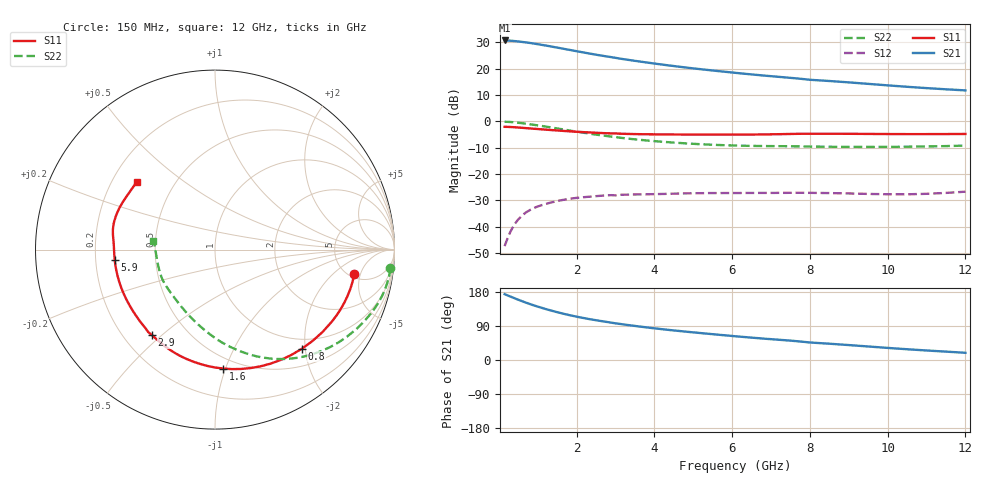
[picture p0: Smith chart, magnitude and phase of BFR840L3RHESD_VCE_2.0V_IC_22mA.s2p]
! Infineon Technologies  Discrete & RF Semiconductors
! BFR840L3RHESD
! VCE =  2.0 V,  IC =  22 mA
! Common Emitter S-Parameters:  Jun 2012
# GHz  S  MA  R  50
!  f  S11  S21  S12  S22
! GHz  MAG  ANG  MAG  ANG  MAG  ANG  MAG  ANG
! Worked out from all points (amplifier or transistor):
!   91 points, 150 MHz to 12 GHz, reference 50 ohm
!   highest |S21| = 30.7 dB at 150 MHz (marker M1)
!   |S21| within 3 dB of that: start of sweep to 1.609 GHz
!   unconditionally stable (mu >= 1): 7.262 GHz to end of sweep
!   at 1.3 GHz: K = 0.20, MSG = 29.7 dB, |S12| = -30.9 dB
!   at 4.3 GHz: K = 0.60, MSG = 24.4 dB, |S12| = -27.5 dB
!   at 12 GHz: K = 1.77, MAG = 14.1 dB, |S12| = -26.7 dB
!   S11 on the Smith chart (normalised r, x): 150 MHz: 5.54, -3.96; 800 MHz: 0.81, -1.94; 1.6 GHz: 0.41, -0.98; 2.9 GHz: 0.32, -0.46; 5.9 GHz: 0.28, -0.05; 12 GHz: 0.30, +0.34
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0.15  0.7879 -9.9  34.24 173.7  0.0043 86.6  0.9831 -6.0
0.3  0.7822 -19.5  33.83 167.4  0.0081 78.6  0.9727 -13.2
0.5  0.7649 -31.6  32.78 159.1  0.0138 70.7  0.9416 -21.7
0.6  0.7548 -37.5  32.14 155.1  0.0164 67.8  0.9225 -25.7
0.8  0.7347 -48.6  30.7 147.7  0.0208 62.6  0.8817 -33.3
1  0.7158 -59.1  29.13 140.9  0.0243 57.9  0.8401 -40.3
1.2  0.6979 -68.8  27.5 134.7  0.0271 53.5  0.7982 -46.8
1.4  0.6807 -77.7  25.87 129.0  0.0296 49.5  0.7564 -52.9
1.6  0.6643 -86.1  24.31 123.7  0.0319 46.3  0.7153 -58.5
1.9  0.6424 -97.5  22.12 116.6  0.0347 42.4  0.6571 -66.2
2.2  0.6243 -107.6  20.14 110.4  0.0366 39.1  0.6058 -73.0
2.5  0.6085 -116.2  18.4 105.0  0.0382 36.1  0.562 -79.1
2.9  0.592 -126.4  16.49 98.4  0.0399 32.9  0.5144 -86.4
3.5  0.5744 -139.5  14.06 89.9  0.0411 28.8  0.4565 -96.5
4.2  0.5658 -151.7  11.95 81.3  0.042 26.5  0.4111 -106.8
5  0.5624 -163.4  10.13 72.9  0.0434 24.6  0.3754 -117.9
5.9  0.5616 -174.3  8.598 64.4  0.0438 23.3  0.3515 -129.6
6.1  0.5617 -176.5  8.308 62.5  0.0438 23.2  0.3481 -132.1
8  0.5833 164.2  6.151 46.2  0.0441 22.2  0.3327 -156.8
8.5  0.583 160.4  5.831 43.0  0.0437 21.9  0.3301 -161.2
10.5  0.5736 146.2  4.528 28.4  0.0414 28.4  0.3309 -178.6
12  0.5774 139.2  3.867 19.0  0.0464 36.3  0.3474 172.3
